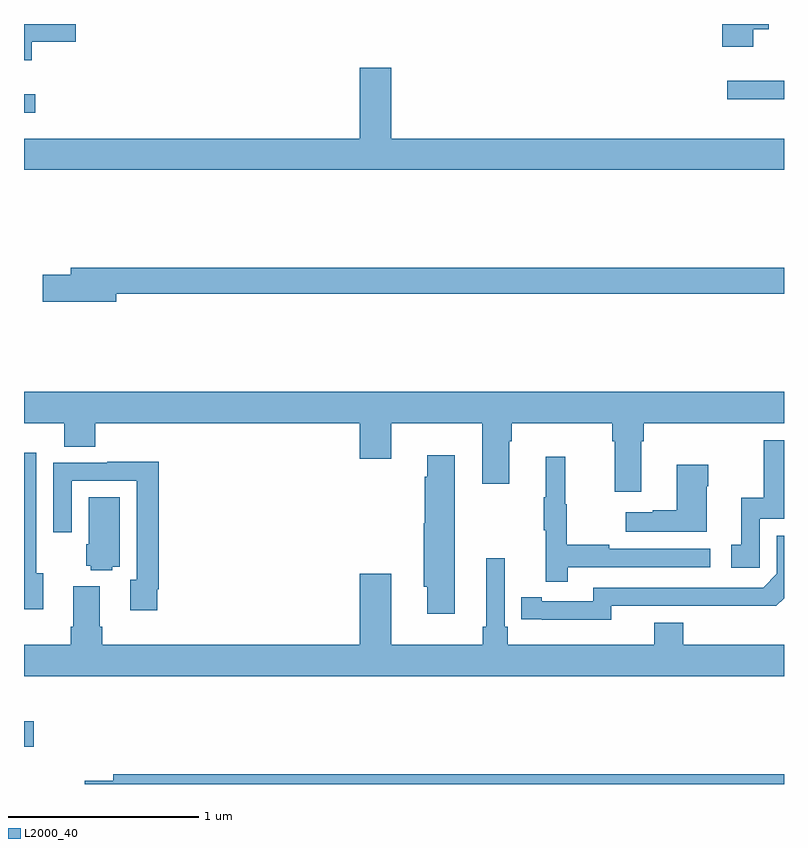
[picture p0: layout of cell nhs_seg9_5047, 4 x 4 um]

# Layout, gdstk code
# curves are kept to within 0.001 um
import gdstk
lib = gdstk.Library(unit=1e-6, precision=1e-09)
def R(c, l, rs):  # rectangles x0, y0, x1, y1
    for r in rs: c.add(gdstk.rectangle(r[:2], r[2:], *l))
def P(c, l, *ps):  # polygons
    for p in ps: c.add(gdstk.Polygon(p, *l))
L2000_40 = (2000, 40)

nhs_seg9_5047 = lib.new_cell('nhs_seg9_5047')
R(nhs_seg9_5047, L2000_40, [(403,1214.696,403.051,1214.83), (403,1218.032,403.06,1218.129)])
P(nhs_seg9_5047, L2000_40, [(406.837,1218.473),(406.921,1218.473),(406.921,1218.5),(406.676,1218.5),(406.676,1218.38),(406.837,1218.38)],
  [(403.042,1218.407),(403.273,1218.407),(403.273,1218.5),(403,1218.5),(403,1218.308),(403.042,1218.308)],
  [(407,1217.896),(404.932,1217.896),(404.932,1218.271),(404.768,1218.271),(404.768,1217.896),(403,1217.896),(403,1217.732),(407,1217.732)],
  [(407,1218.201),(406.982,1218.201),(406.982,1218.202),(406.701,1218.202),(406.701,1218.104),(407,1218.104)],
  [(403.486,1217.08),(407,1217.08),(407,1217.216),(403.247,1217.216),(403.247,1217.18),(403.098,1217.18),(403.098,1217.038),(403.486,1217.038)],
  [(406.249,1216.304),(406.262,1216.304),(406.262,1216.4),(407,1216.4),(407,1216.564),(403,1216.564),(403,1216.4),(403.211,1216.4),(403.211,1216.276),(403.376,1216.276),(403.376,1216.4),(404.768,1216.4),(404.768,1216.212),(404.932,1216.212),(404.932,1216.4),(405.413,1216.4),(405.413,1216.08),(405.553,1216.08),(405.553,1216.304),(405.566,1216.304),(405.566,1216.4),(406.097,1216.4),(406.097,1216.304),(406.109,1216.304),(406.109,1216.038),(406.249,1216.038)],
  [(406.872,1215.897),(407,1215.897),(407,1216.308),(406.893,1216.308),(406.893,1216.006),(406.775,1216.006),(406.775,1215.759),(406.722,1215.759),(406.722,1215.639),(406.872,1215.639)],
  [(403.102,1215.61),(403.065,1215.61),(403.065,1216.243),(403,1216.243),(403,1215.419),(403.102,1215.419)],
  [(405.268,1216.231),(405.122,1216.231),(405.122,1216.118),(405.11,1216.118),(405.11,1215.873),(405.104,1215.873),(405.104,1215.537),(405.122,1215.537),(405.122,1215.396),(405.268,1215.396)],
  [(405.863,1215.642),(406.612,1215.642),(406.612,1215.738),(406.079,1215.738),(406.079,1215.758),(405.856,1215.758),(405.856,1215.972),(405.848,1215.972),(405.848,1216.222),(405.746,1216.222),(405.746,1216.009),(405.735,1216.009),(405.735,1215.835),(405.746,1215.835),(405.746,1215.564),(405.863,1215.564)],
  [(403.702,1215.526),(403.709,1215.526),(403.709,1216.195),(403.439,1216.195),(403.439,1216.191),(403.155,1216.191),(403.155,1215.825),(403.251,1215.825),(403.251,1216.095),(403.593,1216.095),(403.593,1215.575),(403.559,1215.575),(403.559,1215.414),(403.702,1215.414)],
  [(406.594,1216.067),(406.602,1216.067),(406.602,1216.18),(406.436,1216.18),(406.436,1215.941),(406.31,1215.941),(406.31,1215.931),(406.167,1215.931),(406.167,1215.827),(406.594,1215.827)],
  [(403.464,1215.644),(403.504,1215.644),(403.504,1216.01),(403.34,1216.01),(403.34,1215.762),(403.328,1215.762),(403.328,1215.648),(403.35,1215.648),(403.35,1215.626),(403.464,1215.626)],
  [(406.092,1215.438),(406.96,1215.437),(407,1215.477),(407,1215.807),(406.962,1215.807),(406.962,1215.606),(406.89,1215.534),(405.996,1215.534),(405.996,1215.462),(405.724,1215.462),(405.724,1215.482),(405.616,1215.482),(405.616,1215.366),(406.092,1215.365)],
  [(407,1215.232),(406.469,1215.232),(406.469,1215.349),(406.316,1215.349),(406.316,1215.232),(405.545,1215.232),(405.545,1215.328),(405.531,1215.328),(405.531,1215.688),(405.434,1215.688),(405.434,1215.328),(405.415,1215.328),(405.415,1215.232),(404.932,1215.232),(404.932,1215.607),(404.768,1215.607),(404.768,1215.232),(403.412,1215.232),(403.412,1215.328),(403.399,1215.328),(403.399,1215.541),(403.259,1215.541),(403.259,1215.328),(403.247,1215.328),(403.247,1215.232),(403,1215.232),(403,1215.068),(407,1215.068)],
  [(407,1214.552),(403.469,1214.552),(403.469,1214.516),(403.32,1214.516),(403.32,1214.5),(407,1214.5)])

lib.write_gds('nhs_seg9_5047.gds')
